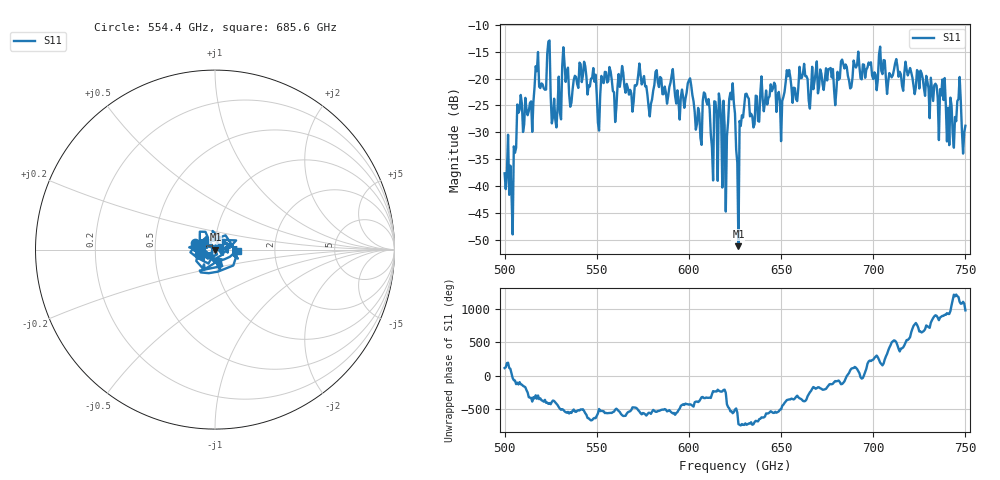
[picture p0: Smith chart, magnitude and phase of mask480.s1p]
!Created with skrf (http://scikit-rf.org).
# GHz S MA R 50.0
!freq magS11 angS11
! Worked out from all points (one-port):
!   401 points, 500 GHz to 750 GHz, reference 50 ohm
!   lowest |S11| = -51.1 dB at 626.9 GHz (marker M1), VSWR 1.01, Z = 50.3 - j0.0194 ohm
!   |S11| at or under -10 dB: start of sweep to end of sweep
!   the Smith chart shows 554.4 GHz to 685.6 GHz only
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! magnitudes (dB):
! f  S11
! 500 GHz  -37.6
! 503.8 GHz  -41.6
! 508.1 GHz  -25.8
! 513.8 GHz  -24.5
! 517.5 GHz  -18.6
! 523.8 GHz  -13.1
! 526.9 GHz  -23.7
! 531.2 GHz  -17.7
! 542.5 GHz  -19.4
! 551.2 GHz  -29.7
! 562.5 GHz  -21.5
! 593.8 GHz  -22.2
! 600.6 GHz  -20.0
! 605.6 GHz  -26.5
! 609.4 GHz  -24.2
! 619.4 GHz  -28.7
! 623.1 GHz  -23.9
! 625 GHz  -26.5
! 626.9 GHz  -51.1
! 631.2 GHz  -22.8
! 634.4 GHz  -27.0
! 656.2 GHz  -24.5
! 687.5 GHz  -21.8
! 718.8 GHz  -19.4
! 737.5 GHz  -20.2
! 742.5 GHz  -25.0
! 746.2 GHz  -23.8
! 750 GHz  -28.8
